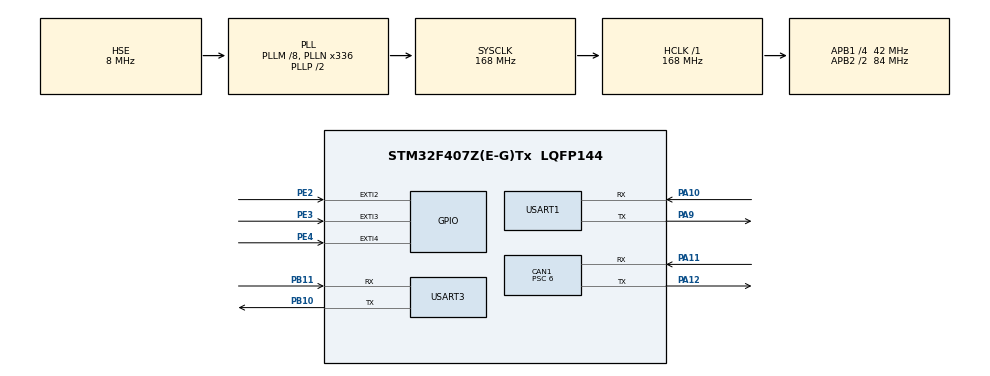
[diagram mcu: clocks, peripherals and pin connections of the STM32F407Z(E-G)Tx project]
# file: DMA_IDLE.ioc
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CAN1.BS1=CAN_BS1_2TQ
CAN1.BS2=CAN_BS2_4TQ
CAN1.CalculateBaudRate=1000000
CAN1.CalculateTimeBit=1000
CAN1.CalculateTimeQuantum=142.85714285714286
CAN1.Prescaler=6
Dma.Request0=USART1_RX
Dma.Request1=USART1_TX
Dma.Request2=USART3_RX
Dma.Request3=USART3_TX
Dma.USART1_RX.0.Direction=DMA_PERIPH_TO_MEMORY
Dma.USART1_RX.0.FIFOMode=DMA_FIFOMODE_DISABLE
Dma.USART1_RX.0.Instance=DMA2_Stream2
Dma.USART1_RX.0.MemDataAlignment=DMA_MDATAALIGN_BYTE
Dma.USART1_RX.0.MemInc=DMA_MINC_ENABLE
Dma.USART1_RX.0.Mode=DMA_NORMAL
Dma.USART1_RX.0.PeriphDataAlignment=DMA_PDATAALIGN_BYTE
Dma.USART1_RX.0.PeriphInc=DMA_PINC_DISABLE
Dma.USART1_RX.0.Priority=DMA_PRIORITY_LOW
Dma.USART1_TX.1.Direction=DMA_MEMORY_TO_PERIPH
Dma.USART1_TX.1.FIFOMode=DMA_FIFOMODE_DISABLE
Dma.USART1_TX.1.Instance=DMA2_Stream7
Dma.USART1_TX.1.MemDataAlignment=DMA_MDATAALIGN_BYTE
Dma.USART1_TX.1.MemInc=DMA_MINC_ENABLE
Dma.USART1_TX.1.Mode=DMA_NORMAL
Dma.USART1_TX.1.PeriphDataAlignment=DMA_PDATAALIGN_BYTE
Dma.USART1_TX.1.PeriphInc=DMA_PINC_DISABLE
Dma.USART1_TX.1.Priority=DMA_PRIORITY_LOW
Dma.USART3_RX.2.Direction=DMA_PERIPH_TO_MEMORY
Dma.USART3_RX.2.FIFOMode=DMA_FIFOMODE_DISABLE
Dma.USART3_RX.2.Instance=DMA1_Stream1
Dma.USART3_RX.2.MemDataAlignment=DMA_MDATAALIGN_BYTE
Dma.USART3_RX.2.MemInc=DMA_MINC_ENABLE
Dma.USART3_RX.2.Mode=DMA_NORMAL
Dma.USART3_RX.2.PeriphDataAlignment=DMA_PDATAALIGN_BYTE
Dma.USART3_RX.2.PeriphInc=DMA_PINC_DISABLE
Dma.USART3_RX.2.Priority=DMA_PRIORITY_MEDIUM
Dma.USART3_TX.3.Direction=DMA_MEMORY_TO_PERIPH
Dma.USART3_TX.3.FIFOMode=DMA_FIFOMODE_DISABLE
Dma.USART3_TX.3.Instance=DMA1_Stream3
Dma.USART3_TX.3.MemDataAlignment=DMA_MDATAALIGN_BYTE
Dma.USART3_TX.3.MemInc=DMA_MINC_ENABLE
Dma.USART3_TX.3.Mode=DMA_NORMAL
Dma.USART3_TX.3.PeriphDataAlignment=DMA_PDATAALIGN_BYTE
Dma.USART3_TX.3.PeriphInc=DMA_PINC_DISABLE
Dma.USART3_TX.3.Priority=DMA_PRIORITY_LOW
Mcu.Family=STM32F4
Mcu.Name=STM32F407Z(E-G)Tx
Mcu.Package=LQFP144
NVIC.DMA1_Stream1_IRQn=true\:0\:0\:false\:false\:true\:false\:true\:true
NVIC.DMA1_Stream3_IRQn=true\:0\:0\:false\:false\:true\:false\:true\:true
NVIC.DMA2_Stream2_IRQn=true\:0\:0\:false\:false\:true\:false\:true\:true
NVIC.DMA2_Stream7_IRQn=true\:0\:0\:false\:false\:true\:false\:true\:true
NVIC.EXTI2_IRQn=true\:0\:0\:false\:false\:true\:true\:true\:true
NVIC.EXTI3_IRQn=true\:0\:0\:false\:false\:true\:true\:true\:true
NVIC.EXTI4_IRQn=true\:0\:0\:false\:false\:true\:true\:true\:true
NVIC.PriorityGroup=NVIC_PRIORITYGROUP_4
NVIC.TIM2_IRQn=true\:1\:0\:true\:false\:true\:true\:true\:true
NVIC.USART1_IRQn=true\:0\:0\:false\:false\:true\:true\:true\:true
NVIC.USART3_IRQn=true\:0\:0\:false\:false\:true\:true\:true\:true
PA10.Mode=Asynchronous
PA10.Signal=USART1_RX
PA11.Mode=CAN_Activate
PA11.Signal=CAN1_RX
PA12.Mode=CAN_Activate
PA12.Signal=CAN1_TX
PA9.Mode=Asynchronous
PA9.Signal=USART1_TX
PB10.Mode=Asynchronous
PB10.Signal=USART3_TX
PB11.Mode=Asynchronous
PB11.Signal=USART3_RX
PC14-OSC32_IN.Mode=LSE-External-Oscillator
PC14-OSC32_IN.Signal=RCC_OSC32_IN
PC15-OSC32_OUT.Mode=LSE-External-Oscillator
PC15-OSC32_OUT.Signal=RCC_OSC32_OUT
PE2.GPIO_ModeDefaultEXTI=GPIO_MODE_IT_FALLING
PE2.Signal=GPXTI2
PE3.GPIO_ModeDefaultEXTI=GPIO_MODE_IT_FALLING
PE3.Signal=GPXTI3
PE4.GPIO_ModeDefaultEXTI=GPIO_MODE_IT_FALLING
PE4.Signal=GPXTI4
PH0-OSC_IN.Mode=HSE-External-Oscillator
PH0-OSC_IN.Signal=RCC_OSC_IN
PH1-OSC_OUT.Mode=HSE-External-Oscillator
PH1-OSC_OUT.Signal=RCC_OSC_OUT
ProjectManager.HeapSize=0x200
ProjectManager.StackSize=0x400
ProjectManager.TargetToolchain=MDK-ARM V5
RCC.48MHZClocksFreq_Value=84000000
RCC.AHBFreq_Value=168000000
RCC.APB1CLKDivider=RCC_HCLK_DIV4
RCC.APB1Freq_Value=42000000
RCC.APB1TimFreq_Value=84000000
RCC.APB2CLKDivider=RCC_HCLK_DIV2
RCC.APB2Freq_Value=84000000
RCC.APB2TimFreq_Value=168000000
RCC.CortexFreq_Value=168000000
RCC.HCLKFreq_Value=168000000
RCC.HSE_VALUE=8000000
RCC.HSI_VALUE=16000000
RCC.PLLM=8
RCC.PLLN=336
RCC.PLLSourceVirtual=RCC_PLLSOURCE_HSE
RCC.SYSCLKFreq_VALUE=168000000
RCC.SYSCLKSource=RCC_SYSCLKSOURCE_PLLCLK
RCC.VCOOutputFreq_Value=336000000
TIM2.AutoReloadPreload=TIM_AUTORELOAD_PRELOAD_ENABLE
TIM2.Period=20-1
TIM2.Prescaler=840
USART1.VirtualMode=VM_ASYNC
USART3.VirtualMode=VM_ASYNC
VP_TIM2_VS_ClockSourceINT.Mode=Internal
board=custom

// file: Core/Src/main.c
/* USER CODE BEGIN Header */
/**
  ******************************************************************************
  * @file           : main.c
  * @brief          : Main program body
  ******************************************************************************
  * @attention
  *
  * Copyright (c) 2022 STMicroelectronics.
  * All rights reserved.
  *
  * This software is licensed under terms that can be found in the LICENSE file
  * in the root directory of this software component.
  * If no LICENSE file comes with this software, it is provided AS-IS.
  *
  ******************************************************************************
  */
/* USER CODE END Header */
#include "main.h"
#include "can.h"
#include "dma.h"
#include "tim.h"
#include "usart.h"
#include "gpio.h"

/* USER CODE BEGIN Includes */

#include "sys.h"
#include "usart.h"
#include "motor.h"
#include "pid.h"
#include "delay.h"

/* USER CODE END Includes */

/* USER CODE BEGIN PTD */
extern uint8_t RxBuffer[UART_RX_BUF_SIZE];
/* USER CODE END PTD */

/* USER CODE BEGIN PV */

#define MOTOR_NUM 	4

PID_TypeDef moto_pid[MOTOR_NUM];
int16_t g = 0;
int spd_target[4] =	{1000, -1000, -1000, 1000};

extern motor_measure_t motor_chassis[8];

/* USER CODE END PV */

void SystemClock_Config(void);

/* USER CODE BEGIN 0 */
//定时器中断函数

void HAL_TIM_PeriodElapsedCallback(TIM_HandleTypeDef *htim)
{

	if(htim == (&htim2))
	{
		Receive_Motor(&hcan1);
		for(g=0;g<MOTOR_NUM;g++)
		{
			//计算pid以及电机控速
			moto_pid[g].target = spd_target[g];
			moto_pid[g].f_cal_pid(moto_pid+g, motor_chassis[g].speed_rpm);
		}
			Send_Motor(&hcan1, moto_pid[0].output, moto_pid[1].output, moto_pid[2].output, moto_pid[3].output, 0x200, 0x12, CAN_ID_STD, CAN_RTR_DATA, 0x08);
//			printf("M1 output speed is %d \r\n", moto_pid[0].output);
//			printf("M2 output speed is %d \r\n", moto_pid[1].output);
//			printf("M3 output speed is %d \r\n", moto_pid[2].output);
//			printf("M4 output speed is %d \r\n", moto_pid[3].output);
	}

}

/**
  * 函数功能: 按键外部中断回调函数
  * 输入参数: GPIO_Pin：中断引脚
  * 返 回 值: 无
  * 说    明: 无
  */
void HAL_GPIO_EXTI_Callback(uint16_t GPIO_Pin)
{

}

/* USER CODE END 0 */

int main(void)
{
  /* USER CODE BEGIN 1 */
  SystemClock_Config();
  /* USER CODE END 1 */

  /* MCU Configuration--------------------------------------------------------*/

  /* Reset of all peripherals, Initializes the Flash interface and the Systick. */
  HAL_Init();

  /* Configure the system clock */
  SystemClock_Config();

  /* Initialize all configured peripherals */
  MX_GPIO_Init();
  MX_DMA_Init();
  MX_USART1_UART_Init();
  MX_CAN1_Init();
  MX_TIM2_Init();
  MX_USART3_UART_Init();
  /* USER CODE BEGIN 2 */

	for(g=0;g<MOTOR_NUM;g++)
	{
		pid_init(moto_pid+g);
	}

	moto_pid[0].f_param_init(moto_pid,PID_Speed,16384,1000,5,0,8000,0,2.5,0.12,1);
	moto_pid[1].f_param_init(moto_pid+1,PID_Speed,16384,1000,5,0,8000,0,2.5,0.12,1);
	moto_pid[2].f_param_init(moto_pid+2,PID_Speed,16384,1000,5,0,8000,0,2.5,0.12,1);
	moto_pid[3].f_param_init(moto_pid+3,PID_Speed,16384,1000,5,0,8000,0,2.5,0.12,1);

	printf("PID初始化结束。\r\n");

	filter1_init();
	HAL_CAN_Start(&hcan1);
	HAL_TIM_Base_Start_IT(&htim2);

	__HAL_UART_ENABLE_IT(&huart3, UART_IT_RXNE); //使能接收中断
	__HAL_UART_ENABLE_IT(&huart3, UART_IT_IDLE); //使能IDLE中断

	//DMA接收函数，此句一定要加，不加接收不到第一次传进来的实数据，是空的，且此时接收到的数据长度为缓存器的数据长度
	HAL_UART_Receive_DMA(&huart3,RxBuffer,UART_RX_BUF_SIZE);

  /* USER CODE END 2 */

  /* Infinite loop */
  while (1)
  {

  }
}

void SystemClock_Config(void)
{
  RCC_OscInitTypeDef RCC_OscInitStruct = {0};
  RCC_ClkInitTypeDef RCC_ClkInitStruct = {0};

  /** Configure the main internal regulator output voltage
  */
  __HAL_RCC_PWR_CLK_ENABLE();
  __HAL_PWR_VOLTAGESCALING_CONFIG(PWR_REGULATOR_VOLTAGE_SCALE1);

  /** Initializes the RCC Oscillators according to the specified parameters
  * in the RCC_OscInitTypeDef structure.
  */
  RCC_OscInitStruct.OscillatorType = RCC_OSCILLATORTYPE_HSE;
  RCC_OscInitStruct.HSEState = RCC_HSE_ON;
  RCC_OscInitStruct.PLL.PLLState = RCC_PLL_ON;
  RCC_OscInitStruct.PLL.PLLSource = RCC_PLLSOURCE_HSE;
  RCC_OscInitStruct.PLL.PLLM = 8;
  RCC_OscInitStruct.PLL.PLLN = 336;
  RCC_OscInitStruct.PLL.PLLP = RCC_PLLP_DIV2;
  RCC_OscInitStruct.PLL.PLLQ = 4;
  if (HAL_RCC_OscConfig(&RCC_OscInitStruct) != HAL_OK)
  {
    Error_Handler();
  }

  /** Initializes the CPU, AHB and APB buses clocks
  */
  RCC_ClkInitStruct.ClockType = RCC_CLOCKTYPE_HCLK|RCC_CLOCKTYPE_SYSCLK
                              |RCC_CLOCKTYPE_PCLK1|RCC_CLOCKTYPE_PCLK2;
  RCC_ClkInitStruct.SYSCLKSource = RCC_SYSCLKSOURCE_PLLCLK;
  RCC_ClkInitStruct.AHBCLKDivider = RCC_SYSCLK_DIV1;
  RCC_ClkInitStruct.APB1CLKDivider = RCC_HCLK_DIV4;
  RCC_ClkInitStruct.APB2CLKDivider = RCC_HCLK_DIV2;

  if (HAL_RCC_ClockConfig(&RCC_ClkInitStruct, FLASH_LATENCY_5) != HAL_OK)
  {
    Error_Handler();
  }
}

void Error_Handler(void)
{
  __disable_irq();
  while (1)
  {
  }
}
